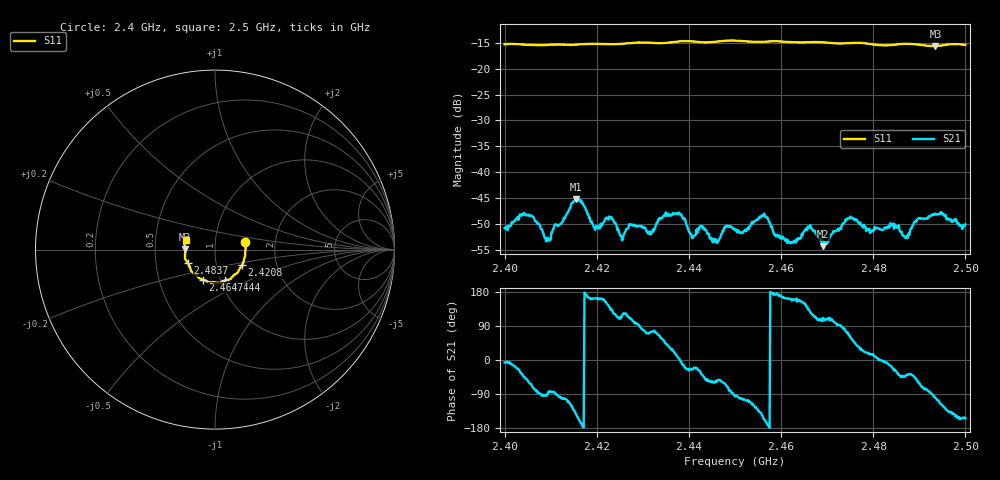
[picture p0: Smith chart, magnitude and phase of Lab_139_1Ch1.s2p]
# Hz S RI R 50
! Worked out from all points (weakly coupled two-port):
!   601 points, 2.4 GHz to 2.5 GHz, reference 50 ohm
!   highest |S21| = -45.23 dB at 2.4155 GHz (marker M1); lowest = -54.3 dB at 2.469 GHz (marker M2)
!   lowest |S11| = -15.6 dB at 2.4935 GHz (marker M3), VSWR 1.40, Z = 35.8 + j0.212 ohm
!   |S11| at or under -10 dB: start of sweep to end of sweep
!   S12 and S22 are empty: the file has one direction only
!   S11 on the Smith chart (normalised r, x): 2.4 GHz: 1.40, +0.12; 2.4208 GHz: 1.33, -0.24; 2.444 GHz: 1.06, -0.37; 2.4647 GHz: 0.83, -0.29; 2.4837 GHz: 0.73, -0.11; 2.5 GHz: 0.72, +0.08
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2.4e9  0.1676 0.0413  0.00286 -0.000331  0 0  0 0
2.4055e9  0.1703 0.00437  0.00181 -0.00338  0 0  0 0
2.4095e9  0.1687 -0.0249  0.000225 -0.00215  0 0  0 0
2.4155e9  0.1605 -0.0598  -0.0044 -0.00327  0 0  0 0
2.416667e9  0.1591 -0.068  -0.00517 -0.00118  0 0  0 0
2.420833e9  0.1506 -0.0871  -0.00302 0.000958  0 0  0 0
2.433333e9  0.108 -0.1403  0.0014 0.00317  0 0  0 0
2.437833e9  0.0888 -0.1614  0.00405 0.000235  0 0  0 0
2.440667e9  0.0791 -0.1664  0.00208 -0.000987  0 0  0 0
2.444e9  0.058 -0.1709  0.0016 -0.00196  0 0  0 0
2.45e9  0.0243 -0.186  -0.000293 -0.0027  0 0  0 0
2.456167e9  -0.0149 -0.1822  -0.00341 -0.00165  0 0  0 0
2.4615e9  -0.0437 -0.1767  -0.00208 0.000702  0 0  0 0
2.464667e9  -0.0673 -0.1671  -0.00217 0.00114  0 0  0 0
2.466667e9  -0.08 -0.1628  -0.00143 0.00241  0 0  0 0
2.469e9  -0.0895 -0.1571  -0.000578 0.00183  0 0  0 0
2.474833e9  -0.1213 -0.1295  0.00149 0.00323  0 0  0 0
2.483333e9  -0.1507 -0.0761  0.00295 -0.000572  0 0  0 0
2.483667e9  -0.1524 -0.0732  0.00308 -0.00081  0 0  0 0
2.487e9  -0.1666 -0.0524  0.00166 -0.00161  0 0  0 0
2.4935e9  -0.1661 0.00289  -0.00068 -0.00391  0 0  0 0
2.5e9  -0.1623 0.0527  -0.0028 -0.00136  0 0  0 0
